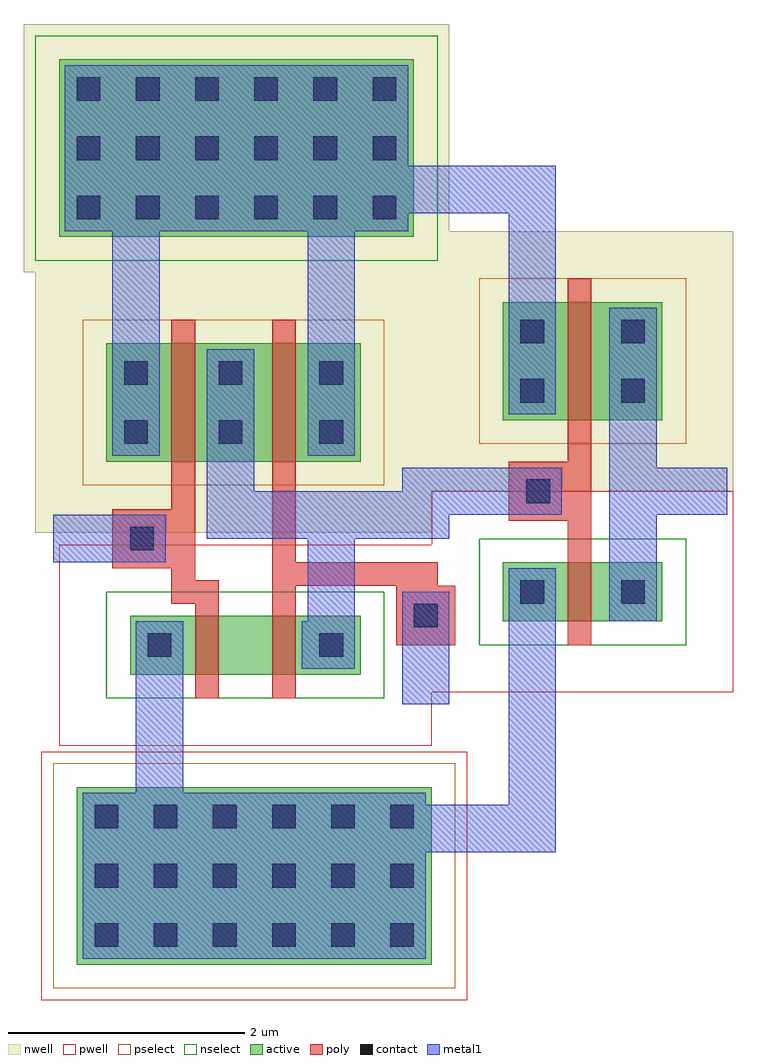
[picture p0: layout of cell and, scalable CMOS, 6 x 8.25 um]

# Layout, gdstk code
import gdstk
lib = gdstk.Library(unit=1e-6, precision=1e-09)
def R(c, l, rs):  # rectangles x0, y0, x1, y1
    for r in rs: c.add(gdstk.rectangle(r[:2], r[2:], *l))
def A(c, l, x, y, w, h, nx, ny, dx, dy):  # array of equal rectangles
    R(c, l, [(x+i*dx, y+j*dy, x+i*dx+w, y+j*dy+h) for i in range(nx) for j in range(ny)])
contact = (25, 0)
pwell = (41, 0)
nwell = (42, 0)
active = (43, 0)
pselect = (44, 0)
nselect = (45, 0)
poly = (46, 0)
metal1 = (49, 0)

inv = lib.new_cell('Inv')
R(inv, contact, [(-0.5,-1,-0.3,-0.8), (0.35,-1,0.55,-0.8), (-0.45,-0.15,-0.25,0.05), (-0.5,0.7,-0.3,0.9), (0.35,0.7,0.55,0.9), (-0.5,1.2,-0.3,1.4), (0.35,1.2,0.55,1.4)])
R(inv, pwell, [(-1.25,-1.75,0.45,-0.05), (-1,-1.75,1,-0.05), (-0.4,-1.75,1.3,-0.05), (-1.2,-1.65,0.375,-0.15), (-0.375,-1.65,1.25,-0.15)])
R(inv, nwell, [(-1.25,-0.05,0.45,2.15), (-1,-0.05,1,2.15), (-0.4,-0.05,1.3,2.15), (-1.2,0.3,0.375,1.8), (-0.375,0.3,1.25,1.8)])
R(inv, active, [(-0.65,-1.15,-0.15,-0.65), (-0.4,-1.15,0.4,-0.65), (0.2,-1.15,0.7,-0.65), (-0.6,-1.05,-0.225,-0.75), (0.225,-1.05,0.65,-0.75), (-0.65,0.55,-0.15,1.55), (-0.4,0.55,0.4,1.55), (0.2,0.55,0.7,1.55), (-0.6,0.9,-0.225,1.2), (0.225,0.9,0.65,1.2)])
R(inv, pselect, [(-0.85,0.35,0.05,1.75), (-0.6,0.35,0.6,1.75), (0,0.35,0.9,1.75), (-0.8,0.7,-0.025,1.4), (0.025,0.7,0.85,1.4)])
R(inv, nselect, [(-0.85,-1.35,0.05,-0.45), (-0.6,-1.35,0.6,-0.45), (0,-1.35,0.9,-0.45), (-0.8,-1.25,-0.025,-0.55), (0.025,-1.25,0.85,-0.55)])
R(inv, poly, [(-0.1,-1.35,0.1,-0.45), (-0.1,-0.55,0.1,0.05), (-0.6,-0.3,-0.1,0.2), (-0.5,-0.15,0.1,0.05), (-0.1,-0.15,0.1,0.45), (-0.1,0.35,0.1,1.75)])
R(inv, metal1, [(-0.6,-1.7,-0.2,-0.7), (0.25,-1.15,0.65,0.15), (-0.6,-1.1,-0.2,-0.7), (0.25,-1.1,0.65,-0.7), (-1,-0.25,-0.15,0.15), (-0.55,-0.25,-0.15,0.15), (0.25,-0.25,0.65,1.45), (0.25,-0.25,1,0.15), (-0.6,0.6,-0.2,1.5), (0.25,0.6,0.65,1.5), (-0.6,0.85,-0.2,2.2)])

and_ = lib.new_cell('and')
A(and_, contact, -1.15, -3.45, 0.2, 0.2, 6, 3, 0.5, 0.5)
A(and_, contact, -1.3, 2.7, 0.2, 0.2, 6, 3, 0.5, 0.5)
R(and_, contact, [(-0.7,-1,-0.5,-0.8), (0.75,-1,0.95,-0.8), (1.55,-0.75,1.75,-0.55), (-0.85,-0.1,-0.65,0.1), (-0.9,0.8,-0.7,1), (-0.1,0.8,0.1,1), (0.75,0.8,0.95,1), (-0.9,1.3,-0.7,1.5), (-0.1,1.3,0.1,1.5), (0.75,1.3,0.95,1.5)])
R(and_, pwell, [(-1.6,-3.9,2,-1.8), (-1.45,-1.75,0.25,-0.05), (-1.2,-1.75,0.8,-0.05), (-0.55,-1.75,1.45,-0.05), (0,-1.75,1.7,-0.05), (-1.4,-1.65,0.175,-0.15), (-0.675,-1.65,0.925,-0.15), (0.075,-1.65,1.65,-0.15)])
R(and_, nwell, [(-1.65,0.05,0.05,2.25), (-1.4,0.05,0.6,2.25), (-0.85,0.05,0.85,2.25), (-0.55,0.05,1.45,2.25), (0,0.05,1.7,2.25), (-1.6,0.4,-0.025,1.9), (-0.775,0.4,0.8,1.9), (-0.75,0.4,0.825,1.9), (0.075,0.4,1.65,1.9), (-1.75,2.25,1.85,4.35)])
R(and_, active, [(-1.3,-3.6,1.7,-2.1), (-0.85,-1.15,-0.35,-0.65), (-0.6,-1.15,0.2,-0.65), (0.05,-1.15,0.85,-0.65), (0.6,-1.15,1.1,-0.65), (-0.8,-1.05,-0.425,-0.75), (-0.075,-1.05,0.325,-0.75), (0.675,-1.05,1.05,-0.75), (-1.05,0.65,-0.55,1.65), (-0.8,0.65,0,1.65), (-0.25,0.65,0.25,1.65), (0.05,0.65,0.85,1.65), (0.6,0.65,1.1,1.65), (-1,1,-0.625,1.3), (-0.175,1,0.2,1.3), (-0.15,1,0.225,1.3), (0.675,1,1.05,1.3), (-1.45,2.55,1.55,4.05)])
R(and_, pselect, [(-1.5,-3.8,1.9,-1.9), (-1.25,0.45,-0.35,1.85), (-1,0.45,0.2,1.85), (-0.45,0.45,0.45,1.85), (-0.15,0.45,1.05,1.85), (0.4,0.45,1.3,1.85), (-1.2,0.8,-0.425,1.5), (-0.375,0.8,0.4,1.5), (-0.35,0.8,0.425,1.5), (0.475,0.8,1.25,1.5)])
R(and_, nselect, [(-1.05,-1.35,-0.15,-0.45), (-0.8,-1.35,0.4,-0.45), (-0.15,-1.35,1.05,-0.45), (0.4,-1.35,1.3,-0.45), (-1,-1.25,-0.225,-0.55), (-0.275,-1.25,0.525,-0.55), (0.475,-1.25,1.25,-0.55), (-1.65,2.35,1.75,4.25)])
R(and_, poly, [(-0.3,-1.35,-0.1,-0.45), (0.35,-1.35,0.55,-0.45), (1.4,-0.9,1.9,-0.4), (1.55,-0.8,1.75,-0.2), (-0.5,-0.55,-0.1,-0.35), (-0.5,-0.55,-0.3,0.1), (0.35,-0.55,0.55,-0.2), (0.35,-0.4,0.55,0.55), (0.35,-0.4,1.75,-0.2), (-1,-0.25,-0.5,0.25), (-0.9,-0.1,-0.3,0.1), (-0.5,-0.1,-0.3,0.55), (-0.5,0.45,-0.3,1.85), (0.35,0.45,0.55,1.85)])
R(and_, metal1, [(-1.25,-3.55,1.65,-2.15), (-0.8,-3.05,-0.4,-0.7), (0,-2.65,2.75,-2.25), (2.35,-2.65,2.75,-0.85), (1.45,-1.4,1.85,-0.45), (-0.8,-1.1,-0.4,-0.7), (0.6,-1.1,1.05,-0.7), (0.65,-1.1,1.05,-0.7), (0.65,-1.1,1.05,0.4), (1.45,-0.85,1.85,-0.45), (-1.5,-0.2,-0.55,0.2), (-0.95,-0.2,-0.55,0.2), (-0.2,0,0.2,1.35), (-0.2,0,1.05,0.4), (0.65,0,1.85,0.4), (1.45,0,1.85,0.6), (1.45,0.2,2.35,0.6), (3.55,0.2,4.2,0.6), (-1,0.7,-0.6,1.6), (-0.2,0.7,0.2,1.6), (0.65,0.7,1.05,1.6), (-1,0.95,-0.6,3.5), (0.65,0.95,1.05,3.5), (2.35,2.25,2.75,3.15), (-1.4,2.6,1.5,4), (-0.15,2.75,2.75,3.15)])
and_.add(gdstk.Reference(inv, (2.95,0.45)))

lib.write_gds('and.gds')
